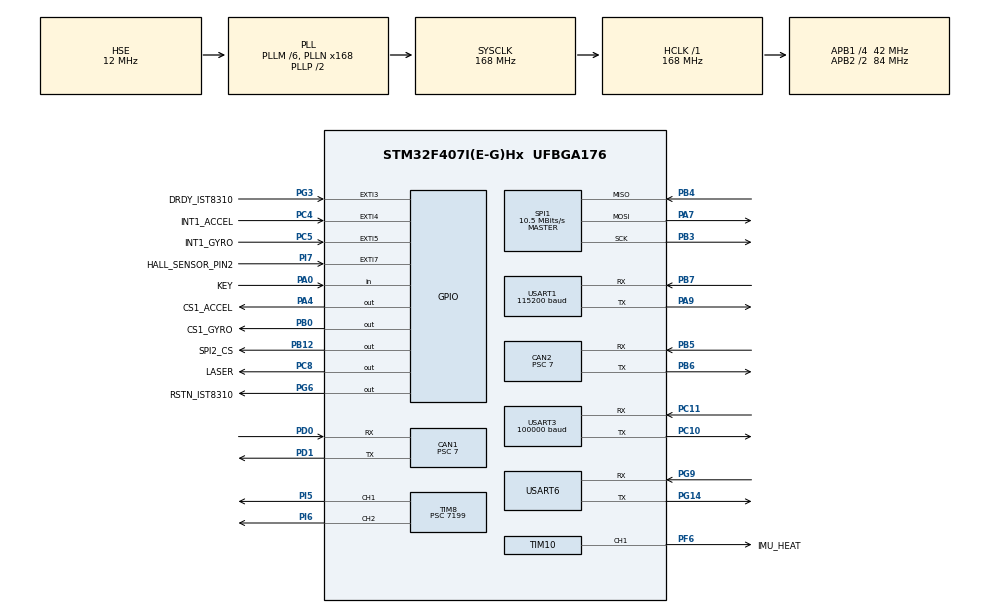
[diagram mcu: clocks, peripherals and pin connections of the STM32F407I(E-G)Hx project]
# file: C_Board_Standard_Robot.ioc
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CAN1.BS1=CAN_BS1_3TQ
CAN1.BS2=CAN_BS2_2TQ
CAN1.CalculateBaudRate=999999
CAN1.CalculateTimeBit=1000
CAN1.CalculateTimeQuantum=166.66666666666669
CAN1.NART=ENABLE
CAN1.Prescaler=7
CAN2.BS1=CAN_BS1_3TQ
CAN2.BS2=CAN_BS2_2TQ
CAN2.CalculateBaudRate=999999
CAN2.CalculateTimeBit=1000
CAN2.CalculateTimeQuantum=166.66666666666669
CAN2.NART=ENABLE
CAN2.Prescaler=7
Dma.Request0=SPI1_RX
Dma.Request1=SPI1_TX
Dma.Request2=USART3_RX
Dma.Request3=USART6_RX
Dma.Request4=USART1_TX
Dma.SPI1_RX.0.Direction=DMA_PERIPH_TO_MEMORY
Dma.SPI1_RX.0.FIFOMode=DMA_FIFOMODE_DISABLE
Dma.SPI1_RX.0.Instance=DMA2_Stream2
Dma.SPI1_RX.0.MemDataAlignment=DMA_MDATAALIGN_BYTE
Dma.SPI1_RX.0.MemInc=DMA_MINC_ENABLE
Dma.SPI1_RX.0.Mode=DMA_NORMAL
Dma.SPI1_RX.0.PeriphDataAlignment=DMA_PDATAALIGN_BYTE
Dma.SPI1_RX.0.PeriphInc=DMA_PINC_DISABLE
Dma.SPI1_RX.0.Priority=DMA_PRIORITY_VERY_HIGH
Dma.SPI1_TX.1.Direction=DMA_MEMORY_TO_PERIPH
Dma.SPI1_TX.1.FIFOMode=DMA_FIFOMODE_DISABLE
Dma.SPI1_TX.1.Instance=DMA2_Stream3
Dma.SPI1_TX.1.MemDataAlignment=DMA_MDATAALIGN_BYTE
Dma.SPI1_TX.1.MemInc=DMA_MINC_ENABLE
Dma.SPI1_TX.1.Mode=DMA_NORMAL
Dma.SPI1_TX.1.PeriphDataAlignment=DMA_PDATAALIGN_BYTE
Dma.SPI1_TX.1.PeriphInc=DMA_PINC_DISABLE
Dma.SPI1_TX.1.Priority=DMA_PRIORITY_HIGH
Dma.USART1_TX.4.Direction=DMA_MEMORY_TO_PERIPH
Dma.USART1_TX.4.FIFOMode=DMA_FIFOMODE_DISABLE
Dma.USART1_TX.4.Instance=DMA2_Stream7
Dma.USART1_TX.4.MemDataAlignment=DMA_MDATAALIGN_BYTE
Dma.USART1_TX.4.MemInc=DMA_MINC_ENABLE
Dma.USART1_TX.4.Mode=DMA_NORMAL
Dma.USART1_TX.4.PeriphDataAlignment=DMA_PDATAALIGN_BYTE
Dma.USART1_TX.4.PeriphInc=DMA_PINC_DISABLE
Dma.USART1_TX.4.Priority=DMA_PRIORITY_VERY_HIGH
Dma.USART3_RX.2.Direction=DMA_PERIPH_TO_MEMORY
Dma.USART3_RX.2.FIFOMode=DMA_FIFOMODE_DISABLE
Dma.USART3_RX.2.Instance=DMA1_Stream1
Dma.USART3_RX.2.MemDataAlignment=DMA_MDATAALIGN_BYTE
Dma.USART3_RX.2.MemInc=DMA_MINC_ENABLE
Dma.USART3_RX.2.Mode=DMA_CIRCULAR
Dma.USART3_RX.2.PeriphDataAlignment=DMA_PDATAALIGN_BYTE
Dma.USART3_RX.2.PeriphInc=DMA_PINC_DISABLE
Dma.USART3_RX.2.Priority=DMA_PRIORITY_HIGH
Dma.USART6_RX.3.Direction=DMA_PERIPH_TO_MEMORY
Dma.USART6_RX.3.FIFOMode=DMA_FIFOMODE_DISABLE
Dma.USART6_RX.3.Instance=DMA2_Stream1
Dma.USART6_RX.3.MemDataAlignment=DMA_MDATAALIGN_BYTE
Dma.USART6_RX.3.MemInc=DMA_MINC_ENABLE
Dma.USART6_RX.3.Mode=DMA_CIRCULAR
Dma.USART6_RX.3.PeriphDataAlignment=DMA_PDATAALIGN_BYTE
Dma.USART6_RX.3.PeriphInc=DMA_PINC_DISABLE
Dma.USART6_RX.3.Priority=DMA_PRIORITY_LOW
FREERTOS.INCLUDE_eTaskGetState=1
FREERTOS.INCLUDE_pcTaskGetTaskName=1
FREERTOS.INCLUDE_uxTaskGetStackHighWaterMark=1
FREERTOS.INCLUDE_vTaskCleanUpResources=1
FREERTOS.INCLUDE_vTaskDelayUntil=1
FREERTOS.INCLUDE_xEventGroupSetBitFromISR=1
FREERTOS.INCLUDE_xQueueGetMutexHolder=1
FREERTOS.INCLUDE_xSemaphoreGetMutexHolder=1
FREERTOS.INCLUDE_xTaskAbortDelay=1
FREERTOS.INCLUDE_xTaskGetCurrentTaskHandle=1
FREERTOS.INCLUDE_xTaskGetHandle=1
FREERTOS.INCLUDE_xTimerPendFunctionCall=1
FREERTOS.Tasks01=defaultTask,0,128,StartDefaultTask,Default,NULL,Dynamic,NULL,NULL;Start_Task,3,128,Func_Start,Default,NULL,Dynamic,NULL,NULL
FREERTOS.configTOTAL_HEAP_SIZE=24576
Mcu.Family=STM32F4
Mcu.Name=STM32F407I(E-G)Hx
Mcu.Package=UFBGA176
NVIC.CAN1_RX0_IRQn=true\:5\:0\:false\:false\:true\:true\:true\:true\:true
NVIC.CAN2_RX0_IRQn=true\:5\:0\:false\:false\:true\:true\:true\:true\:true
NVIC.CAN2_TX_IRQn=true\:5\:0\:false\:false\:true\:true\:true\:true\:true
NVIC.DMA1_Stream1_IRQn=true\:5\:0\:false\:false\:true\:true\:false\:true\:true
NVIC.DMA2_Stream1_IRQn=true\:5\:0\:false\:false\:true\:true\:false\:true\:true
NVIC.DMA2_Stream2_IRQn=true\:5\:0\:true\:false\:false\:false\:false\:true\:true
NVIC.DMA2_Stream3_IRQn=true\:5\:0\:true\:false\:false\:false\:false\:true\:true
NVIC.DMA2_Stream7_IRQn=true\:5\:0\:false\:false\:true\:true\:false\:true\:true
NVIC.EXTI3_IRQn=true\:5\:0\:true\:false\:true\:false\:true\:true\:true
NVIC.EXTI4_IRQn=true\:5\:0\:true\:false\:true\:false\:true\:true\:true
NVIC.EXTI9_5_IRQn=true\:5\:0\:true\:false\:true\:false\:true\:true\:true
NVIC.PriorityGroup=NVIC_PRIORITYGROUP_4
NVIC.TIM2_IRQn=true\:0\:0\:false\:false\:true\:false\:false\:true\:true
NVIC.TIM4_IRQn=true\:5\:0\:false\:false\:true\:true\:true\:true\:true
NVIC.TimeBase=TIM2_IRQn
NVIC.TimeBaseIP=TIM2
NVIC.USART1_IRQn=true\:5\:0\:false\:false\:true\:true\:true\:true\:true
NVIC.USART6_IRQn=true\:5\:0\:false\:false\:true\:true\:true\:true\:true
PA0-WKUP.GPIO_Label=KEY
PA0-WKUP.GPIO_PuPd=GPIO_PULLUP
PA0-WKUP.Signal=GPIO_Input
PA13.Mode=Serial_Wire
PA13.Signal=SYS_JTMS-SWDIO
PA14.Mode=Serial_Wire
PA14.Signal=SYS_JTCK-SWCLK
PA4.GPIO_Label=CS1_ACCEL
PA4.GPIO_PuPd=GPIO_PULLUP
PA4.GPIO_Speed=GPIO_SPEED_FREQ_HIGH
PA4.PinState=GPIO_PIN_SET
PA4.Signal=GPIO_Output
PA7.GPIO_PuPd=GPIO_PULLUP
PA7.Mode=Full_Duplex_Master
PA7.Signal=SPI1_MOSI
PA9.Mode=Asynchronous
PA9.Signal=USART1_TX
PB0.GPIO_Label=CS1_GYRO
PB0.GPIO_PuPd=GPIO_PULLUP
PB0.GPIO_Speed=GPIO_SPEED_FREQ_HIGH
PB0.PinState=GPIO_PIN_SET
PB0.Signal=GPIO_Output
PB12.GPIO_Label=SPI2_CS
PB12.GPIO_PuPd=GPIO_PULLUP
PB12.GPIO_Speed=GPIO_SPEED_FREQ_MEDIUM
PB12.PinState=GPIO_PIN_SET
PB12.Signal=GPIO_Output
PB3.GPIO_PuPd=GPIO_PULLUP
PB3.Mode=Full_Duplex_Master
PB3.Signal=SPI1_SCK
PB4.GPIO_PuPd=GPIO_PULLUP
PB4.Mode=Full_Duplex_Master
PB4.Signal=SPI1_MISO
PB5.Mode=CAN_Activate
PB5.Signal=CAN2_RX
PB6.Mode=CAN_Activate
PB6.Signal=CAN2_TX
PB7.Mode=Asynchronous
PB7.Signal=USART1_RX
PC10.Mode=Asynchronous
PC10.Signal=USART3_TX
PC11.Mode=Asynchronous
PC11.Signal=USART3_RX
PC4.GPIO_Label=INT1_ACCEL
PC4.GPIO_ModeDefaultEXTI=GPIO_MODE_IT_FALLING
PC4.GPIO_PuPd=GPIO_PULLUP
PC4.Signal=GPXTI4
PC5.GPIO_Label=INT1_GYRO
PC5.GPIO_ModeDefaultEXTI=GPIO_MODE_IT_FALLING
PC5.GPIO_PuPd=GPIO_PULLUP
PC5.Signal=GPXTI5
PC8.GPIO_Label=LASER
PC8.Signal=GPIO_Output
PD0.Mode=CAN_Activate
PD0.Signal=CAN1_RX
PD1.Mode=CAN_Activate
PD1.Signal=CAN1_TX
PF6.GPIO_Label=IMU_HEAT
PF6.GPIO_PuPd=GPIO_PULLUP
PF6.GPIO_Speed=GPIO_SPEED_FREQ_HIGH
PF6.Signal=S_TIM10_CH1
PG14.Mode=Asynchronous
PG14.Signal=USART6_TX
PG3.GPIO_Label=DRDY_IST8310
PG3.GPIO_ModeDefaultEXTI=GPIO_MODE_IT_FALLING
PG3.GPIO_PuPd=GPIO_PULLUP
PG3.Signal=GPXTI3
PG6.GPIO_Label=RSTN_IST8310
PG6.GPIO_PuPd=GPIO_PULLUP
PG6.GPIO_Speed=GPIO_SPEED_FREQ_MEDIUM
PG6.PinState=GPIO_PIN_SET
PG6.Signal=GPIO_Output
PG9.Mode=Asynchronous
PG9.Signal=USART6_RX
PH0-OSC_IN.Mode=HSE-External-Oscillator
PH0-OSC_IN.Signal=RCC_OSC_IN
PH1-OSC_OUT.Mode=HSE-External-Oscillator
PH1-OSC_OUT.Signal=RCC_OSC_OUT
PI5.Signal=S_TIM8_CH1
PI6.Signal=S_TIM8_CH2
PI7.GPIO_Label=HALL_SENSOR_PIN2
PI7.Signal=GPXTI7
ProjectManager.HeapSize=0x2000
ProjectManager.StackSize=0x2000
ProjectManager.TargetToolchain=MDK-ARM V5.32
RCC.48MHZClocksFreq_Value=48000000
RCC.AHBFreq_Value=168000000
RCC.APB1CLKDivider=RCC_HCLK_DIV4
RCC.APB1Freq_Value=42000000
RCC.APB1TimFreq_Value=84000000
RCC.APB2CLKDivider=RCC_HCLK_DIV2
RCC.APB2Freq_Value=84000000
RCC.APB2TimFreq_Value=168000000
RCC.CortexFreq_Value=168000000
RCC.HCLKFreq_Value=168000000
RCC.HSE_VALUE=12000000
RCC.HSI_VALUE=16000000
RCC.LSE_VALUE=32768
RCC.PLLM=6
RCC.PLLN=168
RCC.PLLQ=7
RCC.PLLSourceVirtual=RCC_PLLSOURCE_HSE
RCC.RCC_RTC_Clock_SourceVirtual=RCC_RTCCLKSOURCE_HSE_DIV30
RCC.RCC_RTC_Clock_Source_FROM_HSE=RCC_RTCCLKSOURCE_HSE_DIV30
RCC.SYSCLKFreq_VALUE=168000000
RCC.SYSCLKSource=RCC_SYSCLKSOURCE_PLLCLK
RCC.VCOOutputFreq_Value=336000000
SH.S_TIM10_CH1.0=TIM10_CH1,PWM Generation1 CH1
SH.S_TIM8_CH1.0=TIM8_CH1,PWM Generation1 CH1
SH.S_TIM8_CH2.0=TIM8_CH2,PWM Generation2 CH2
SPI1.BaudRatePrescaler=SPI_BAUDRATEPRESCALER_8
SPI1.CLKPhase=SPI_PHASE_2EDGE
SPI1.CLKPolarity=SPI_POLARITY_HIGH
SPI1.CalculateBaudRate=10.5 MBits/s
SPI1.Direction=SPI_DIRECTION_2LINES
SPI1.Mode=SPI_MODE_MASTER
SPI1.VirtualType=VM_MASTER
TIM10.Channel=TIM_CHANNEL_1
TIM10.Period=2000-1
TIM10.Prescaler=84-1
TIM4.AutoReloadPreload=TIM_AUTORELOAD_PRELOAD_ENABLE
TIM4.Channel-Output\ Compare1\ No\ Output=TIM_CHANNEL_1
TIM4.Period=100
TIM4.Prescaler=84
TIM8.Channel-PWM\ Generation1\ CH1=TIM_CHANNEL_1
TIM8.Channel-PWM\ Generation2\ CH2=TIM_CHANNEL_2
TIM8.Period=499
TIM8.Prescaler=7199
USART1.BaudRate=115200
USART1.Mode=MODE_TX
USART1.Parity=PARITY_NONE
USART1.VirtualMode=VM_ASYNC
USART3.BaudRate=100000
USART3.Mode=MODE_RX
USART3.Parity=PARITY_EVEN
USART3.VirtualMode=VM_ASYNC
USART6.VirtualMode=VM_ASYNC
VP_FREERTOS_VS_CMSIS_V1.Mode=CMSIS_V1
VP_SYS_VS_tim2.Mode=TIM2
VP_TIM10_VS_ClockSourceINT.Mode=Enable_Timer
VP_TIM4_VS_ClockSourceINT.Mode=Internal
VP_TIM4_VS_no_output1.Mode=Output Compare1 No Output
board=custom

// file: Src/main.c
/* USER CODE BEGIN Header */
/**
 ******************************************************************************
 * @file           : main.c
 * @brief          : Main program body
 ******************************************************************************
 * @attention
 *
 * <h2><center>&copy; Copyright (c) 2021 STMicroelectronics.
 * All rights reserved.</center></h2>
 *
 * This software component is licensed by ST under Ultimate Liberty license
 * SLA0044, the "License"; You may not use this file except in compliance with
 * the License. You may obtain a copy of the License at:
 *                             www.st.com/SLA0044
 *
 ******************************************************************************
 */
/* USER CODE END Header */
#include "main.h"
#include "cmsis_os.h"
#include "can.h"
#include "dma.h"
#include "spi.h"
#include "tim.h"
#include "usart.h"
#include "gpio.h"

/* USER CODE BEGIN Includes */
#include "Header.h"

/* USER CODE END Includes */

/* USER CODE BEGIN PV */
uint32_t time_count =0;
/* USER CODE END PV */

void SystemClock_Config(void);
void MX_FREERTOS_Init(void);

int main(void)
{

  /* MCU Configuration--------------------------------------------------------*/

  /* Reset of all peripherals, Initializes the Flash interface and the Systick. */
  HAL_Init();

  /* Configure the system clock */
  SystemClock_Config();

  /* Initialize all configured peripherals */
  MX_GPIO_Init();
  MX_DMA_Init();
  MX_SPI1_Init();
  MX_TIM10_Init();
  MX_CAN1_Init();
  MX_USART1_UART_Init();
  MX_USART3_UART_Init();
  MX_USART6_UART_Init();
  MX_TIM8_Init();
  MX_TIM4_Init();
  MX_CAN2_Init();
  /* USER CODE BEGIN 2 */
  DWT_Init(168);
  while (BMI088_init(&hspi1, 0) != BMI088_NO_ERROR)
    ;
	CAN_Start();
	UART_Start();
	HAL_TIM_PWM_Start(&htim8,TIM_CHANNEL_2);
	HAL_TIM_Base_Start_IT(&htim4);
	Steering_Engine_OFF();
	HAL_Delay(50);
	if(Remote_Detect())
		HAL_NVIC_SystemReset();
  /* USER CODE END 2 */

  /* Call init function for freertos objects (in freertos.c) */
  MX_FREERTOS_Init();

  /* Start scheduler */
  osKernelStart();

  /* We should never get here as control is now taken by the scheduler */
  /* Infinite loop */
    while (1)
    {

    }
}

void SystemClock_Config(void)
{
  RCC_OscInitTypeDef RCC_OscInitStruct = {0};
  RCC_ClkInitTypeDef RCC_ClkInitStruct = {0};

  /** Configure the main internal regulator output voltage
  */
  __HAL_RCC_PWR_CLK_ENABLE();
  __HAL_PWR_VOLTAGESCALING_CONFIG(PWR_REGULATOR_VOLTAGE_SCALE1);

  /** Initializes the RCC Oscillators according to the specified parameters
  * in the RCC_OscInitTypeDef structure.
  */
  RCC_OscInitStruct.OscillatorType = RCC_OSCILLATORTYPE_HSE;
  RCC_OscInitStruct.HSEState = RCC_HSE_ON;
  RCC_OscInitStruct.PLL.PLLState = RCC_PLL_ON;
  RCC_OscInitStruct.PLL.PLLSource = RCC_PLLSOURCE_HSE;
  RCC_OscInitStruct.PLL.PLLM = 6;
  RCC_OscInitStruct.PLL.PLLN = 168;
  RCC_OscInitStruct.PLL.PLLP = RCC_PLLP_DIV2;
  RCC_OscInitStruct.PLL.PLLQ = 7;
  if (HAL_RCC_OscConfig(&RCC_OscInitStruct) != HAL_OK)
  {
    Error_Handler();
  }

  /** Initializes the CPU, AHB and APB buses clocks
  */
  RCC_ClkInitStruct.ClockType = RCC_CLOCKTYPE_HCLK|RCC_CLOCKTYPE_SYSCLK
                              |RCC_CLOCKTYPE_PCLK1|RCC_CLOCKTYPE_PCLK2;
  RCC_ClkInitStruct.SYSCLKSource = RCC_SYSCLKSOURCE_PLLCLK;
  RCC_ClkInitStruct.AHBCLKDivider = RCC_SYSCLK_DIV1;
  RCC_ClkInitStruct.APB1CLKDivider = RCC_HCLK_DIV4;
  RCC_ClkInitStruct.APB2CLKDivider = RCC_HCLK_DIV2;

  if (HAL_RCC_ClockConfig(&RCC_ClkInitStruct, FLASH_LATENCY_5) != HAL_OK)
  {
    Error_Handler();
  }
}

void HAL_TIM_PeriodElapsedCallback(TIM_HandleTypeDef *htim)
{
  if (htim->Instance == TIM2) {
    HAL_IncTick();
  }
  /* USER CODE BEGIN Callback 1 */
	if(htim->Instance == TIM4)
	{
		if(time_count <= 100)
			time_count++;
		else
			time_count =0;

	}
  /* USER CODE END Callback 1 */
}

void Error_Handler(void)
{
}

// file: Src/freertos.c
/* USER CODE BEGIN Header */
/**
 ******************************************************************************
 * File Name          : freertos.c
 * Description        : Code for freertos applications
 ******************************************************************************
 * @attention
 *
 * <h2><center>&copy; Copyright (c) 2021 STMicroelectronics.
 * All rights reserved.</center></h2>
 *
 * This software component is licensed by ST under Ultimate Liberty license
 * SLA0044, the "License"; You may not use this file except in compliance with
 * the License. You may obtain a copy of the License at:
 *                             www.st.com/SLA0044
 *
 ******************************************************************************
 */
/* USER CODE END Header */

#include "FreeRTOS.h"
#include "task.h"
#include "main.h"
#include "cmsis_os.h"

/* USER CODE BEGIN Includes */
#include "Header.h"
/* USER CODE END Includes */

osThreadId defaultTaskHandle;
osThreadId Start_TaskHandle;

void StartDefaultTask(void const * argument);
void Func_Start(void const * argument);

void MX_FREERTOS_Init(void); /* (MISRA C 2004 rule 8.1) */

/* GetIdleTaskMemory prototype (linked to static allocation support) */
void vApplicationGetIdleTaskMemory( StaticTask_t **ppxIdleTaskTCBBuffer, StackType_t **ppxIdleTaskStackBuffer, uint32_t *pulIdleTaskStackSize );

/* GetTimerTaskMemory prototype (linked to static allocation support) */
void vApplicationGetTimerTaskMemory( StaticTask_t **ppxTimerTaskTCBBuffer, StackType_t **ppxTimerTaskStackBuffer, uint32_t *pulTimerTaskStackSize );

/* USER CODE BEGIN GET_IDLE_TASK_MEMORY */
static StaticTask_t xIdleTaskTCBBuffer;
static StackType_t xIdleStack[configMINIMAL_STACK_SIZE];

void vApplicationGetIdleTaskMemory(StaticTask_t **ppxIdleTaskTCBBuffer, StackType_t **ppxIdleTaskStackBuffer, uint32_t *pulIdleTaskStackSize)
{
    *ppxIdleTaskTCBBuffer = &xIdleTaskTCBBuffer;
    *ppxIdleTaskStackBuffer = &xIdleStack[0];
    *pulIdleTaskStackSize = configMINIMAL_STACK_SIZE;
    /* place for user code */
}
/* USER CODE END GET_IDLE_TASK_MEMORY */

/* USER CODE BEGIN GET_TIMER_TASK_MEMORY */
static StaticTask_t xTimerTaskTCBBuffer;
static StackType_t xTimerStack[configTIMER_TASK_STACK_DEPTH];

void vApplicationGetTimerTaskMemory(StaticTask_t **ppxTimerTaskTCBBuffer, StackType_t **ppxTimerTaskStackBuffer, uint32_t *pulTimerTaskStackSize)
{
    *ppxTimerTaskTCBBuffer = &xTimerTaskTCBBuffer;
    *ppxTimerTaskStackBuffer = &xTimerStack[0];
    *pulTimerTaskStackSize = configTIMER_TASK_STACK_DEPTH;
    /* place for user code */
}
/* USER CODE END GET_TIMER_TASK_MEMORY */

void MX_FREERTOS_Init(void) {

  /* Create the thread(s) */
  /* definition and creation of defaultTask */
  osThreadDef(defaultTask, StartDefaultTask, osPriorityNormal, 0, 128);
  defaultTaskHandle = osThreadCreate(osThread(defaultTask), NULL);

  /* definition and creation of Start_Task */
  osThreadDef(Start_Task, Func_Start, osPriorityRealtime, 0, 128);
  Start_TaskHandle = osThreadCreate(osThread(Start_Task), NULL);

}

void StartDefaultTask(void const * argument)
{
  for(;;)
  {
    osDelay(1);
  }
}

void Func_Start(void const * argument)
{
  /* USER CODE BEGIN Func_Start */
  /* Infinite loop */
  for(;;)
  {
    Start_Task();
  }
  /* USER CODE END Func_Start */
}
